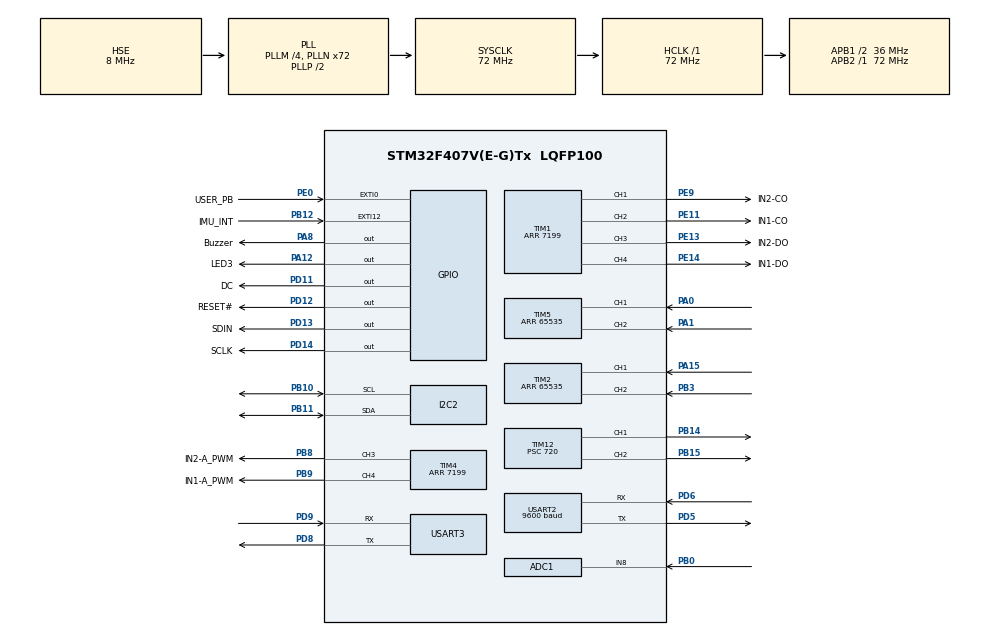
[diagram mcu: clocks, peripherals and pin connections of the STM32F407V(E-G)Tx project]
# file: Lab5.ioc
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ADC1.Channel-0\#ChannelRegularConversion=ADC_CHANNEL_8
ADC1.NbrOfConversionFlag=1
ADC1.Rank-0\#ChannelRegularConversion=1
ADC1.SamplingTime-0\#ChannelRegularConversion=ADC_SAMPLETIME_3CYCLES
ADC1.master=1
Mcu.Family=STM32F4
Mcu.Name=STM32F407V(E-G)Tx
Mcu.Package=LQFP100
NVIC.EXTI0_IRQn=true\:0\:0\:false\:false\:true\:true\:true\:true
NVIC.PriorityGroup=NVIC_PRIORITYGROUP_4
NVIC.RCC_IRQn=true\:0\:0\:false\:false\:true\:true\:false\:true
NVIC.TIM2_IRQn=true\:0\:0\:false\:false\:true\:true\:true\:true
NVIC.USART2_IRQn=true\:0\:0\:false\:false\:true\:true\:true\:true
PA0-WKUP.Signal=S_TIM5_CH1
PA1.Signal=S_TIM5_CH2
PA12.GPIO_Label=LED3
PA12.Signal=GPIO_Output
PA13.Mode=Serial_Wire
PA13.Signal=SYS_JTMS-SWDIO
PA14.Mode=Serial_Wire
PA14.Signal=SYS_JTCK-SWCLK
PA15.Signal=S_TIM2_CH1_ETR
PA8.GPIO_Label=Buzzer
PA8.Signal=GPIO_Output
PB0.Signal=ADCx_IN8
PB10.Mode=I2C
PB10.Signal=I2C2_SCL
PB11.Mode=I2C
PB11.Signal=I2C2_SDA
PB12.GPIO_Label=IMU_INT
PB12.Signal=GPXTI12
PB14.Signal=S_TIM12_CH1
PB15.Signal=S_TIM12_CH2
PB3.Signal=S_TIM2_CH2
PB8.GPIO_Label=IN2-A_PWM
PB8.Signal=S_TIM4_CH3
PB9.GPIO_Label=IN1-A_PWM
PB9.Signal=S_TIM4_CH4
PD11.GPIO_Label=DC
PD11.Signal=GPIO_Output
PD12.GPIO_Label=RESET\#
PD12.Signal=GPIO_Output
PD13.GPIO_Label=SDIN
PD13.Signal=GPIO_Output
PD14.GPIO_Label=SCLK
PD14.Signal=GPIO_Output
PD5.Mode=Asynchronous
PD5.Signal=USART2_TX
PD6.GPIO_PuPd=GPIO_PULLUP
PD6.Mode=Asynchronous
PD6.Signal=USART2_RX
PD8.Mode=Asynchronous
PD8.Signal=USART3_TX
PD9.Mode=Asynchronous
PD9.Signal=USART3_RX
PE0.GPIO_Label=USER_PB
PE0.Signal=GPXTI0
PE11.GPIO_Label=IN1-CO
PE11.Signal=S_TIM1_CH2
PE13.GPIO_Label=IN2-DO
PE13.Signal=S_TIM1_CH3
PE14.GPIO_Label=IN1-DO
PE14.Signal=S_TIM1_CH4
PE9.GPIO_Label=IN2-CO
PE9.Signal=S_TIM1_CH1
PH0-OSC_IN.Mode=HSE-External-Oscillator
PH0-OSC_IN.Signal=RCC_OSC_IN
PH1-OSC_OUT.Mode=HSE-External-Oscillator
PH1-OSC_OUT.Signal=RCC_OSC_OUT
ProjectManager.HeapSize=0x200
ProjectManager.StackSize=0x400
ProjectManager.TargetToolchain=STM32CubeIDE
RCC.48MHZClocksFreq_Value=36000000
RCC.AHBFreq_Value=72000000
RCC.APB1CLKDivider=RCC_HCLK_DIV2
RCC.APB1Freq_Value=36000000
RCC.APB1TimFreq_Value=72000000
RCC.APB2Freq_Value=72000000
RCC.APB2TimFreq_Value=72000000
RCC.CortexFreq_Value=72000000
RCC.HCLKFreq_Value=72000000
RCC.HSE_VALUE=8000000
RCC.HSI_VALUE=16000000
RCC.LSE_VALUE=32768
RCC.PLLM=4
RCC.PLLN=72
RCC.PLLSourceVirtual=RCC_PLLSOURCE_HSE
RCC.SYSCLKFreq_VALUE=72000000
RCC.SYSCLKSource=RCC_SYSCLKSOURCE_PLLCLK
RCC.VCOOutputFreq_Value=144000000
SH.ADCx_IN8.0=ADC1_IN8,IN8
SH.S_TIM12_CH1.0=TIM12_CH1,PWM Generation1 CH1
SH.S_TIM12_CH2.0=TIM12_CH2,PWM Generation2 CH2
SH.S_TIM1_CH1.0=TIM1_CH1,PWM Generation1 CH1
SH.S_TIM1_CH2.0=TIM1_CH2,PWM Generation2 CH2
SH.S_TIM1_CH3.0=TIM1_CH3,PWM Generation3 CH3
SH.S_TIM1_CH4.0=TIM1_CH4,PWM Generation4 CH4
SH.S_TIM2_CH1_ETR.0=TIM2_CH1,Encoder_Interface
SH.S_TIM2_CH2.0=TIM2_CH2,Encoder_Interface
SH.S_TIM4_CH3.0=TIM4_CH3,PWM Generation3 CH3
SH.S_TIM4_CH4.0=TIM4_CH4,PWM Generation4 CH4
SH.S_TIM5_CH1.0=TIM5_CH1,Encoder_Interface
SH.S_TIM5_CH2.0=TIM5_CH2,Encoder_Interface
TIM1.Channel-PWM\ Generation1\ CH1=TIM_CHANNEL_1
TIM1.Channel-PWM\ Generation2\ CH2=TIM_CHANNEL_2
TIM1.Channel-PWM\ Generation3\ CH3=TIM_CHANNEL_3
TIM1.Channel-PWM\ Generation4\ CH4=TIM_CHANNEL_4
TIM1.Period=7199
TIM12.Channel-PWM\ Generation1\ CH1=TIM_CHANNEL_1
TIM12.Channel-PWM\ Generation2\ CH2=TIM_CHANNEL_2
TIM12.Period=2000
TIM12.Prescaler=720
TIM2.AutoReloadPreload=TIM_AUTORELOAD_PRELOAD_DISABLE
TIM2.EncoderMode=TIM_ENCODERMODE_TI12
TIM2.IC1Filter=10
TIM2.IC1Polarity=TIM_ICPOLARITY_FALLING
TIM2.IC2Filter=10
TIM2.IC2Polarity=TIM_ICPOLARITY_FALLING
TIM2.Period=65535
TIM4.Channel-PWM\ Generation3\ CH3=TIM_CHANNEL_3
TIM4.Channel-PWM\ Generation4\ CH4=TIM_CHANNEL_4
TIM4.Period=7199
TIM5.Period=65535
TIM8.Period=7199
USART2.BaudRate=9600
USART2.VirtualMode=VM_ASYNC
USART3.VirtualMode=VM_ASYNC
VP_TIM12_VS_ClockSourceINT.Mode=Internal
VP_TIM1_VS_ClockSourceINT.Mode=Internal
VP_TIM4_VS_ClockSourceINT.Mode=Internal
VP_TIM8_VS_ClockSourceINT.Mode=Internal
board=custom

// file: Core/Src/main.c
/* USER CODE BEGIN Header */
/**
  ******************************************************************************
  * @file           : main.c  for ver D STM32 board - Lab 5
  * @brief          : Main program body
  ******************************************************************************
  * @attention
  *
  * Copyright (c) 2022 STMicroelectronics.
  * All rights reserved.
  *
  * This software is licensed under terms that can be found in the LICENSE file
  * in the root directory of this software component.
  * If no LICENSE file comes with this software, it is provided AS-IS.
  *
  ******************************************************************************
  */
/* USER CODE END Header */
#include "main.h"

/* USER CODE BEGIN Includes */
#include "oled.h"
#include "MPU6050.h"
#include <math.h>
/* USER CODE END Includes */

 ADC_HandleTypeDef hadc1;

I2C_HandleTypeDef hi2c2;

TIM_HandleTypeDef htim1;
TIM_HandleTypeDef htim2;
TIM_HandleTypeDef htim4;
TIM_HandleTypeDef htim5;
TIM_HandleTypeDef htim8;
TIM_HandleTypeDef htim12;  // for the two servor motors

UART_HandleTypeDef huart2;
UART_HandleTypeDef huart3;

void SystemClock_Config(void);
static void MX_GPIO_Init(void);
static void MX_TIM8_Init(void);
static void MX_TIM2_Init(void);
static void MX_USART2_UART_Init(void);
static void MX_TIM1_Init(void);
static void MX_USART3_UART_Init(void);
static void MX_I2C2_Init(void);
static void MX_TIM5_Init(void);
static void MX_TIM4_Init(void);
static void MX_ADC1_Init(void);
static void MX_TIM12_Init(void);

/* USER CODE BEGIN 0 */

uint8_t IMU_ADDR = 0x68<<1;  //MPU-6050 address
IMU_Data imu;	// see MPU6050.h declaration

float pitch_acc = 0, roll_acc = 0;   // pitch and roll angles measured by Acc
float pitch_acc_LPF=0, roll_acc_LPF =0, pitch_prev=0, roll_prev=0; // For Lowpass filtering of accelerometer
float pitch_gyro=0,  roll_gyro=0, yaw_gyro = 0;  // angles from Gyro data
float pitch_CF = 0,  roll_CF = 0; // angles compute using Complementary filter

// the following are for Kalman Filter
float Var_gyro = 4*4; // uncertainty of gyroscope measurement - not changing over time
float Var_acc = 3*3; // uncertainty of accelerometer measurement - not changing over time
float roll_var_g = 2*2; // initial uncertainty - will be updated
float pitch_var_g = 2*2; // initial uncertainty - will be updated
float KG_roll, KG_pitch; // Kalman Gain, will be calculated
float roll_KF = 0; // estimate roll by KF
float pitch_KF = 0;

char sbuf[10][20];  // buffers to store up to 10 data for serial port transmission, each of max len of 20 char

char temp[10][10]; // temporary buffer to store IMU data as string and display on OLED
                    // first 3 store Acc aX, aY, aZ
                    // next 3 store Gyro gX, gY, gZ
					// next 3 store Magntometer (NA for MPU-6050)
                    // next 1 store Temp, or use as scratch variable

uint32_t millisOld, millisNow;  // to store timer value for gyro angles computation
float dt; // time elapse in between sample

int32_t pitch_servo_target = 65;  // servo motor default PWM values
int32_t roll_servo_target = 150;

//***************************************************************************************

void OLED_disp_msg1()
{ // show starting message
  char *buf; // buffer to store value to be display on OLED/SerialPort
  OLED_Init();
  OLED_ShowString(10, 5, "SC2104/CE3002"); // show message on OLED display at line 5)
  buf = "Lab 5"; // another way to show message through buffer
  OLED_ShowString(10,30, buf); //another message at line 30
  buf = "IMU + PID"; // anther way to show message through buffer
  OLED_ShowString(10,50, buf); //another message at line 50
  OLED_Refresh_Gram();
  HAL_Delay(2000); // pause for 2 second to show message

  // send a message to serial port - for testing
  buf = "SC2104\n\r";
  HAL_UART_Transmit(&huart3, buf, 8, HAL_MAX_DELAY); // Send through Serial Port @115200
  HAL_UART_Transmit(&huart2, buf, 8, HAL_MAX_DELAY); // Send through BT Serial Port @9600
  }

void OLED_disp_msg2()
{ // showing messages while adjusting the platform
  OLED_Clear();
  OLED_ShowString(30, 20, "Testing"); // show message on OLED display at line 20)
  OLED_ShowString(10, 30, " Server motors"); // show message on OLED display at line 40)
  OLED_Refresh_Gram();
  Server_Motor12(); // testing servermotor 1 and 2

  // show starting message
  OLED_Clear();
  OLED_ShowString(0, 0,  "Adjust Platform"); // show message on OLED display at line 30)
  OLED_ShowString(0, 10, "    for"); // show message on OLED display at line 40)
  OLED_ShowString(0, 20, "level setting"); // show message on OLED display at line 40)
  //OLED_ShowString(0, 30, "  setting"); // show message on OLED display at line 40)
  OLED_Refresh_Gram();
  HAL_Delay(1000); // pause for 2 second to show message
  millisOld = HAL_GetTick(); // get first time value before starting - for Gyro dt compuattaion
  for (int j = 0; j < 200; j++){
	  get_angles();
	  // show Pitch_acc and Roll_acc on OLED
	  sprintf(temp[9], "P:%4.1f ", pitch_acc);
	  OLED_ShowString(0, 40, &temp[9]);  // show on OLED
	  sprintf(temp[9], "R:%4.1f", roll_acc); //
	  OLED_ShowString(70, 40, &temp[9]); // shown on OLED
	  OLED_Refresh_Gram();
	  HAL_Delay(10); // pause for 0.01 second
      }

  OLED_Clear();
  OLED_ShowString(0, 10, "Targets setting"); // show message on OLED display at line 40)
  OLED_ShowString(0, 20, "  procedure"); // show message on OLED display at line 40)
  OLED_ShowString(0, 35, "   starts"); // show message on OLED display at line 40)
  OLED_ShowString(0, 50, "..Keep still.."); // show message on OLED display at line 40)
  OLED_Refresh_Gram();

  set_targets(); //set the target  angles for the balance platform
  HAL_Delay(2000); // pause for 2 second to show message
  OLED_Clear();
}

float pitch_target, roll_target;  // target angles values for platform

void OLED_disp_msg3()
{  	// show Pitch_acc and Roll_acc on OLED
  	sprintf(temp[9], "P:%4.1f ", pitch_acc);
  	OLED_ShowString(0, 40, &temp[9]);  // show on OLED
	sprintf(temp[9], "R:%4.1f", roll_acc); //
  	OLED_ShowString(70, 40, &temp[9]); // shown on OLED

  	sprintf(temp[9], "T:%4.1f ", pitch_target);
  	OLED_ShowString(0, 50, &temp[9]);  // show on OLED
	sprintf(temp[9], "T:%4.1f", roll_target); //
  	OLED_ShowString(70, 50, &temp[9]); // shown on OLED

 	sprintf(temp[9], "dt: %5.3f", dt);  // cycle time
  	OLED_ShowString(0, 0, &temp[9]); // shown on OLED

  	OLED_Refresh_Gram(); // refresh OLED display
}

//***************************************************************************************

void Serial_tx(){
  	// send Platform  roll and pitch angles as roll and pitch targets to USB serial port
  	sprintf(sbuf[0], "%7.2f,", roll_KF); //
   	sprintf(sbuf[1], "%7.2f,", roll_target);
  	sprintf(sbuf[2], "%7.2f,", pitch_KF); //
  	sprintf(sbuf[3], "%7.2f\n\r", pitch_target); //yaw_gyro
  	for (int i=0; i<4; i++)// send the values to serial port: channel 15 to 17 on SerialPort
  	 	HAL_UART_Transmit(&huart3, sbuf[i], 8, HAL_MAX_DELAY); // send through serial port at 115200
    }

//***************************************************************************************

void Server_Motor12(){
	 // Front wheel server motor is controlled though PB14 and PB15
	 //   configured as Timer12 Channel 1 and Channel 2 PWM
	 // Pulse period = 20ms; : 1ms = 0 degree, 1.5 ms = 90 deg, 2 ms = 180 degree
	 // forward = 1.5 msec ?
	 // Timer3 frequency @ APB2 = 72MHz
	 // Required PWM frequency = 50Hz (= 20msec)
	 // Scaling required = 72000000/50= 1440K
	 //   set Prescaler to 720 and ARR = 2000 (see ioc setup)
	 // 1ms = 2000 * 1/20 = 100
	 // 2 msec = 200
	 //1.5 msec = 150

	HAL_TIM_PWM_Start(&htim12, TIM_CHANNEL_1); // start timer 12 for servor motor
	HAL_TIM_PWM_Start(&htim12, TIM_CHANNEL_2); // start timer 12 for servor motor

  // initial position
	htim12.Instance->CCR1 = roll_servo_target;  // duty cycle is 1.5 ms
	htim12.Instance->CCR2 = pitch_servo_target;  // duty cycle is 1.5 ms
	HAL_Delay(2000);

}

//***************************************************************************************

int start=0;              // use to start stop the motor
void HAL_GPIO_EXTI_Callback( uint16_t GPIO_Pin ) {// user push button interrupt
    // see EXTI0_IRQHandler() in stm32f4xx_it.c for interrupt
	if ( GPIO_Pin == USER_PB_Pin) {
		// toggle LED
		HAL_GPIO_TogglePin(GPIOA, GPIO_PIN_12); // LED - A12
		if (start == 0)
			start = 1;
		else
			start = 0;
 	    }
}

//***************************************************************************************

//ring array to store data for moving average
#define window_size 10
float pitch_array[window_size] = {0}; // initialize all value to 0
float roll_array[window_size] = {0};

float mov_avr_pitch(float data)
{   static int index = 0;
    float sum;
    char *buff;

    pitch_array[index] = data;
    index++;
    if (index == window_size)
		index = 0;

	sum = 0;

	for (int i = 0; i<window_size; i++)
		sum = sum + pitch_array[i];

	return (sum/window_size);
}

//----------------------------------------------------------------------------------------

float mov_avr_roll(const float data)
{   static int index = 0;

    roll_array[index] = data;
    index++;
	if (index == window_size)
		index = 0;

	float sum = 0;
	for (int i = 0; i<window_size; i++)
		sum = sum + roll_array[i];

	return (sum/window_size);
}

//***************************************************************************************

#define data_size 500 // take most recent 500 values

void set_targets()  // use the average of 500 samples to set the platform target angles
{ float pitch_arr[data_size];
  float roll_arr[data_size];
  float pitch_sum = 0, roll_sum = 0;

  millisOld = HAL_GetTick();
  for (int i = 0; i < data_size; i++ ){
      get_angles();
      pitch_arr[i] = pitch_KF; // store entries into array
      roll_arr[i] = roll_KF;  // store entries i to array
      }
  // calculate average
  for (int i = 0; i < data_size; i++ ){
      pitch_sum = pitch_sum + pitch_arr[i];
      roll_sum = roll_sum + roll_arr[i];
      }
  pitch_target = pitch_sum/data_size;
  roll_target = roll_sum/data_size;
}

//***************************************************************************************

void get_angles()  //Calaculate pitch and toll angles using Kalman Filter
{
	  IMU_AccelRead(&imu); // read Accelerometer value
	  IMU_GyroRead(&imu); //  read Gyroscope value

	  // get the loop elapse time = sampling interval
	  millisNow = HAL_GetTick(); // store the current time for next round
	  dt = (millisNow - millisOld)*0.001; // time elapsed in millisecond
	  millisOld = millisNow; // store the current time for next round

	  // Calculate the angle based on Gyroscope x dt of 50msec
	  // pitch_gyro = pitch_gyro + imu.gyro[0] * dt; // in millisecond
	  // roll_gyro = roll_gyro + imu.gyro[1] * dt;
	  // yaw_gyro = yaw_gyro + imu.gyro[2] * dt;     // yaw - not needed

	   // convert the acc readings to pitch and roll angles
	   roll_acc=atan2(imu.acc[0],imu.acc[2]); //thetha = pitch = arcTan(aX/aZ)
	   roll_acc=-roll_acc*57.3; //change from radian to degree, change sign to match gyro's pitch
	   pitch_acc=atan2(imu.acc[1],imu.acc[2]); //Phi = roll = arcTan(aX/aZ)
	   pitch_acc=pitch_acc*57.3; //change from radian to degree//

	   // Complementary filter pitch AND ROLL
	   pitch_CF = 0.05*pitch_acc + 0.95*(pitch_CF + imu.gyro[0]*dt);	 // dt is msec
	   roll_CF = 0.05*roll_acc + 0.95*(roll_CF + imu.gyro[1]*dt);

	   //Calculate Kalman filter Pitch and Roll
	   // roll_gyro and pitch_gyro, roll_acc and pitch_acc alreadys calculated above
	   // calculate the roll and pitch estimated angles by gyro measurement
	   pitch_KF = pitch_KF + imu.gyro[0]*dt; // add the latest change in angles to previous values
	   roll_KF = roll_KF + imu.gyro[1]*dt;
	   // calculate the variance of the estimates by gyro
	   pitch_var_g = pitch_var_g + dt*dt*Var_gyro;
	   roll_var_g = roll_var_g + dt*dt*Var_gyro;
	   // calculate the Kalman Gain
	   KG_roll = roll_var_g/(roll_var_g + Var_acc);
	   KG_pitch = pitch_var_g/(pitch_var_g + Var_acc);
	   // update the gyro estimates using KG
	   roll_KF = roll_KF + KG_roll*(roll_acc-roll_KF);
	   pitch_KF = pitch_KF + KG_pitch*(pitch_acc-pitch_KF);
	   // update the gyro estimates variance using KG
	   roll_var_g = (1-KG_roll)*roll_var_g;
	   pitch_var_g = (1-KG_pitch)*pitch_var_g;
  }

//***************************************************************************************
// Control loop for Roll angle
float roll_angle;            // current Roll angle of platform
float roll_target;           // target Roll angle
float roll_error=0;          // error between target and actual
float roll_error_area = 0;   // area under error - to calculate I for PI implementation
float roll_error_old = 0;    // use these 3 variables to calculate D for PD/PID control
float roll_error_change = 0;
float roll_error_rate = 0;

void roll_PID(float angle, const float kp, const float ki, const float kd)
{   int roll_ServoVal;        // PWM servo value for roll servo motor
    const int ServoMax = 220; // maximum servor value
    const int ServoMin = 50;  // maximum servor value

    roll_error = roll_target - angle;

    roll_error_area = roll_error_area + roll_error*dt; // area under error for Ki

    roll_error_change = roll_error - roll_error_old; // change in error
	roll_error_old = roll_error; //store the error for next round
    roll_error_rate = (roll_error_change)/dt; // for Kd - dt in millsecond

//	pwmVal_raw = (int)(error*Kp); // for debugging

	roll_ServoVal = (int)(roll_servo_target- roll_error*kp - roll_error_area*ki - roll_error_rate*kd); // PI control loop

	if (roll_ServoVal > ServoMax)  // Clamp the PWM value to maximum value
	   roll_ServoVal = ServoMax;
	if (roll_ServoVal < ServoMin)  // Clamp the PWM value to minimum value
	   roll_ServoVal = ServoMin;

//	roll_ServoVal = (int)(roll_servo_target + );  // + D which is subtration

//	if (roll_ServoVal < ServoMin)  // Clamp the PWM to its minimum negative value
//		roll_ServoVal = ServoMin;

	htim12.Instance->CCR1 = roll_ServoVal;      // send PWM duty cycle to servo motor

	sprintf(temp[9], "rS:%3d", roll_ServoVal);  // show Servo PWM value on OLED display
	OLED_ShowString(70, 20, &temp[9]);
	OLED_Refresh_Gram();
}

//---------------------------------------------------------------------------------
// Control loop for Pitch angle
float pitch_angle;            // current pitch angle of platform
float pitch_target;           // target angle
float pitch_error = 0;          // error between target and actual
float pitch_error_area = 0;   // area under error - to calculate I for PI implementation
float pitch_error_old = 0, pitch_error_change = 0, pitch_error_rate = 0; // to calculate D for PID control

void pitch_PID(float angle, const float kp, const float ki, const float kd)
{   int pitch_ServoVal;       // PWM servo value for Pitch servo motor
    const int ServoMax = 220; // maximum servor value
    const int ServoMin = 50;  // maximum servor value

    pitch_error = pitch_target - angle;

    pitch_error_area = pitch_error_area + pitch_error*dt; // area under error for Ki

    pitch_error_change = pitch_error - pitch_error_old; // change in error
	pitch_error_old = pitch_error; //store the error for next round
    pitch_error_rate = (pitch_error_change)/dt; // for Kd - dt in millsecond

//	pwmVal_raw = (int)(error*Kp); // for debugging

	pitch_ServoVal = (int)(pitch_servo_target- pitch_error*kp - pitch_error_area*ki - pitch_error_rate*kd); // PI control loop

	if (pitch_ServoVal > ServoMax)  // Clamp the PWM value to maximum value
	   pitch_ServoVal = ServoMax;
	if (pitch_ServoVal < ServoMin)  // Clamp the PWM value to minimum value
	   pitch_ServoVal = ServoMin;

	htim12.Instance->CCR2 = pitch_ServoVal;  // send duty cycle to Pitch servo motor

	sprintf(temp[9], "pS:%3d", pitch_ServoVal);  // show Servo PWM value on OLED display
	OLED_ShowString(0, 20, &temp[9]);
	OLED_Refresh_Gram(); // refresh OLED display
}

//***************************************************************************************

/* USER CODE END 0 */

int main(void)
{
  /* USER CODE BEGIN 1 */
     float Kp = 0;  // PID parameters
     float Kd = 0;
     float Ki = 0;
  /* USER CODE END 1 */

  /* MCU Configuration--------------------------------------------------------*/

  /* Reset of all peripherals, Initializes the Flash interface and the Systick. */
  HAL_Init();

  /* Configure the system clock */
  SystemClock_Config();

  /* Initialize all configured peripherals */
  MX_GPIO_Init();
  MX_TIM8_Init();
  MX_TIM2_Init();
  MX_USART2_UART_Init();
  MX_TIM1_Init();
  MX_USART3_UART_Init();
  MX_I2C2_Init();
  MX_TIM5_Init();
  MX_TIM4_Init();
  MX_ADC1_Init();
  MX_TIM12_Init();
  /* USER CODE BEGIN 2 */
     OLED_disp_msg1();  // display startup message on OLED

     // Initialize the IMU
     char *msg;
     int i = IMU_Initialise(&imu, &hi2c2, &huart3);
     if (i == 0) // 0 error (i.e. no error)
  	    msg = "IMU Init OK   \r\n";
     else
        msg = "IMU Init Error\r\n";
     HAL_UART_Transmit(&huart3, msg, 16, HAL_MAX_DELAY);  // send message to serial port

     OLED_disp_msg2();  // display message2 on OLED to setup platform

     roll_servo_target = 150;   // nominal PWM value for roll servo motor
     pitch_servo_target = 65;   // nominal PWM value for pitch servo motor

     millisOld = HAL_GetTick(); // get first time value before starting - for Gyro and PID dt computation
     start = 1;  // for user push button detection
  /* USER CODE END 2 */

  /* Infinite loop */
  /* USER CODE BEGIN WHILE */
     //------------------------------------------------------------------------------------
     while (start == 1){ //do until User button is pressed
	   get_angles();     //get roll and pitch angles from IMU

	   //filtering the angles using FIR moving average filter
	   roll_angle = mov_avr_roll(roll_KF);
	   pitch_angle = mov_avr_pitch(pitch_KF);

	   // Execute control loop for Roll angle with its PID parameters
	   Kp = 1;     // P
	   Ki = 4;     // I
	   Kd = 0.005;     // D
	   Kp=0;
	   Ki =0;
	   Kd = 0;
	   roll_PID(roll_angle, Kp, Ki, Kd);

	   // Execute control loop for Pitch angle with its PID parameters
	   Kp = 1.8;     // P
	   Ki = 3;     // I
	   Kd = 0.05;     // D
	   Ki =0;
	   	   Kd = 0;
	   pitch_PID(pitch_angle, Kp, Ki, Kd);

       Serial_tx(); //send roll & pitch angles, roll & pitch targets to serial port

  	   OLED_disp_msg3(); //display information on OLED

  	   HAL_GPIO_TogglePin(GPIOA, GPIO_PIN_12); // toggle LED for heart beat indicator
     } // while(start == 1)

  /* USER CODE END WHILE */

  /* USER CODE BEGIN 3 */
     //while loop exit - user push button detected
     OLED_Clear();
     OLED_ShowString(0, 10, "Program Stop"); // show message on OLED display at line 10)
     OLED_ShowString(0, 30, "Press Reset");  // show message on OLED display at line 30)
     OLED_ShowString(0, 40, "button to");    // show message on OLED display at line 40)
     OLED_ShowString(0, 50, "restart");      // show message on OLED display at line 50)
     OLED_Refresh_Gram();
     while(1); // stop - do nothing
  /* USER CODE END 3 */
} //main

//**************************************************************************************************

void SystemClock_Config(void)
{
  RCC_OscInitTypeDef RCC_OscInitStruct = {0};
  RCC_ClkInitTypeDef RCC_ClkInitStruct = {0};

  /** Configure the main internal regulator output voltage
  */
  __HAL_RCC_PWR_CLK_ENABLE();
  __HAL_PWR_VOLTAGESCALING_CONFIG(PWR_REGULATOR_VOLTAGE_SCALE1);

  /** Initializes the RCC Oscillators according to the specified parameters
  * in the RCC_OscInitTypeDef structure.
  */
  RCC_OscInitStruct.OscillatorType = RCC_OSCILLATORTYPE_HSE;
  RCC_OscInitStruct.HSEState = RCC_HSE_ON;
  RCC_OscInitStruct.PLL.PLLState = RCC_PLL_ON;
  RCC_OscInitStruct.PLL.PLLSource = RCC_PLLSOURCE_HSE;
  RCC_OscInitStruct.PLL.PLLM = 4;
  RCC_OscInitStruct.PLL.PLLN = 72;
  RCC_OscInitStruct.PLL.PLLP = RCC_PLLP_DIV2;
  RCC_OscInitStruct.PLL.PLLQ = 4;
  if (HAL_RCC_OscConfig(&RCC_OscInitStruct) != HAL_OK)
  {
    Error_Handler();
  }

  /** Initializes the CPU, AHB and APB buses clocks
  */
  RCC_ClkInitStruct.ClockType = RCC_CLOCKTYPE_HCLK|RCC_CLOCKTYPE_SYSCLK
                              |RCC_CLOCKTYPE_PCLK1|RCC_CLOCKTYPE_PCLK2;
  RCC_ClkInitStruct.SYSCLKSource = RCC_SYSCLKSOURCE_PLLCLK;
  RCC_ClkInitStruct.AHBCLKDivider = RCC_SYSCLK_DIV1;
  RCC_ClkInitStruct.APB1CLKDivider = RCC_HCLK_DIV2;
  RCC_ClkInitStruct.APB2CLKDivider = RCC_HCLK_DIV1;

  if (HAL_RCC_ClockConfig(&RCC_ClkInitStruct, FLASH_LATENCY_2) != HAL_OK)
  {
    Error_Handler();
  }
}

static void MX_ADC1_Init(void)
{

  ADC_ChannelConfTypeDef sConfig = {0};

  /** Configure the global features of the ADC (Clock, Resolution, Data Alignment and number of conversion)
  */
  hadc1.Instance = ADC1;
  hadc1.Init.ClockPrescaler = ADC_CLOCK_SYNC_PCLK_DIV2;
  hadc1.Init.Resolution = ADC_RESOLUTION_12B;
  hadc1.Init.ScanConvMode = DISABLE;
  hadc1.Init.ContinuousConvMode = DISABLE;
  hadc1.Init.DiscontinuousConvMode = DISABLE;
  hadc1.Init.ExternalTrigConvEdge = ADC_EXTERNALTRIGCONVEDGE_NONE;
  hadc1.Init.ExternalTrigConv = ADC_SOFTWARE_START;
  hadc1.Init.DataAlign = ADC_DATAALIGN_RIGHT;
  hadc1.Init.NbrOfConversion = 1;
  hadc1.Init.DMAContinuousRequests = DISABLE;
  hadc1.Init.EOCSelection = ADC_EOC_SINGLE_CONV;
  if (HAL_ADC_Init(&hadc1) != HAL_OK)
  {
    Error_Handler();
  }

  /** Configure for the selected ADC regular channel its corresponding rank in the sequencer and its sample time.
  */
  sConfig.Channel = ADC_CHANNEL_8;
  sConfig.Rank = 1;
  sConfig.SamplingTime = ADC_SAMPLETIME_3CYCLES;
  if (HAL_ADC_ConfigChannel(&hadc1, &sConfig) != HAL_OK)
  {
    Error_Handler();
  }

}

static void MX_I2C2_Init(void)
{

  hi2c2.Instance = I2C2;
  hi2c2.Init.ClockSpeed = 100000;
  hi2c2.Init.DutyCycle = I2C_DUTYCYCLE_2;
  hi2c2.Init.OwnAddress1 = 0;
  hi2c2.Init.AddressingMode = I2C_ADDRESSINGMODE_7BIT;
  hi2c2.Init.DualAddressMode = I2C_DUALADDRESS_DISABLE;
  hi2c2.Init.OwnAddress2 = 0;
  hi2c2.Init.GeneralCallMode = I2C_GENERALCALL_DISABLE;
  hi2c2.Init.NoStretchMode = I2C_NOSTRETCH_DISABLE;
  if (HAL_I2C_Init(&hi2c2) != HAL_OK)
  {
    Error_Handler();
  }

}

static void MX_TIM1_Init(void)
{

  TIM_ClockConfigTypeDef sClockSourceConfig = {0};
  TIM_MasterConfigTypeDef sMasterConfig = {0};
  TIM_OC_InitTypeDef sConfigOC = {0};
  TIM_BreakDeadTimeConfigTypeDef sBreakDeadTimeConfig = {0};

  htim1.Instance = TIM1;
  htim1.Init.Prescaler = 0;
  htim1.Init.CounterMode = TIM_COUNTERMODE_UP;
  htim1.Init.Period = 7199;
  htim1.Init.ClockDivision = TIM_CLOCKDIVISION_DIV1;
  htim1.Init.RepetitionCounter = 0;
  htim1.Init.AutoReloadPreload = TIM_AUTORELOAD_PRELOAD_DISABLE;
  if (HAL_TIM_Base_Init(&htim1) != HAL_OK)
  {
    Error_Handler();
  }
  sClockSourceConfig.ClockSource = TIM_CLOCKSOURCE_INTERNAL;
  if (HAL_TIM_ConfigClockSource(&htim1, &sClockSourceConfig) != HAL_OK)
  {
    Error_Handler();
  }
  if (HAL_TIM_PWM_Init(&htim1) != HAL_OK)
  {
    Error_Handler();
  }
  sMasterConfig.MasterOutputTrigger = TIM_TRGO_RESET;
  sMasterConfig.MasterSlaveMode = TIM_MASTERSLAVEMODE_DISABLE;
  if (HAL_TIMEx_MasterConfigSynchronization(&htim1, &sMasterConfig) != HAL_OK)
  {
    Error_Handler();
  }
  sConfigOC.OCMode = TIM_OCMODE_PWM1;
  sConfigOC.Pulse = 0;
  sConfigOC.OCPolarity = TIM_OCPOLARITY_HIGH;
  sConfigOC.OCNPolarity = TIM_OCNPOLARITY_HIGH;
  sConfigOC.OCFastMode = TIM_OCFAST_DISABLE;
  sConfigOC.OCIdleState = TIM_OCIDLESTATE_RESET;
  sConfigOC.OCNIdleState = TIM_OCNIDLESTATE_RESET;
  if (HAL_TIM_PWM_ConfigChannel(&htim1, &sConfigOC, TIM_CHANNEL_1) != HAL_OK)
  {
    Error_Handler();
  }
  if (HAL_TIM_PWM_ConfigChannel(&htim1, &sConfigOC, TIM_CHANNEL_2) != HAL_OK)
  {
    Error_Handler();
  }
  if (HAL_TIM_PWM_ConfigChannel(&htim1, &sConfigOC, TIM_CHANNEL_3) != HAL_OK)
  {
    Error_Handler();
  }
  if (HAL_TIM_PWM_ConfigChannel(&htim1, &sConfigOC, TIM_CHANNEL_4) != HAL_OK)
  {
    Error_Handler();
  }
  sBreakDeadTimeConfig.OffStateRunMode = TIM_OSSR_DISABLE;
  sBreakDeadTimeConfig.OffStateIDLEMode = TIM_OSSI_DISABLE;
  sBreakDeadTimeConfig.LockLevel = TIM_LOCKLEVEL_OFF;
  sBreakDeadTimeConfig.DeadTime = 0;
  sBreakDeadTimeConfig.BreakState = TIM_BREAK_DISABLE;
  sBreakDeadTimeConfig.BreakPolarity = TIM_BREAKPOLARITY_HIGH;
  sBreakDeadTimeConfig.AutomaticOutput = TIM_AUTOMATICOUTPUT_DISABLE;
  if (HAL_TIMEx_ConfigBreakDeadTime(&htim1, &sBreakDeadTimeConfig) != HAL_OK)
  {
    Error_Handler();
  }
  HAL_TIM_MspPostInit(&htim1);

}

static void MX_TIM2_Init(void)
{

  TIM_Encoder_InitTypeDef sConfig = {0};
  TIM_MasterConfigTypeDef sMasterConfig = {0};

  htim2.Instance = TIM2;
  htim2.Init.Prescaler = 0;
  htim2.Init.CounterMode = TIM_COUNTERMODE_UP;
  htim2.Init.Period = 65535;
  htim2.Init.ClockDivision = TIM_CLOCKDIVISION_DIV1;
  htim2.Init.AutoReloadPreload = TIM_AUTORELOAD_PRELOAD_DISABLE;
  sConfig.EncoderMode = TIM_ENCODERMODE_TI12;
  sConfig.IC1Polarity = TIM_ICPOLARITY_FALLING;
  sConfig.IC1Selection = TIM_ICSELECTION_DIRECTTI;
  sConfig.IC1Prescaler = TIM_ICPSC_DIV1;
  sConfig.IC1Filter = 10;
  sConfig.IC2Polarity = TIM_ICPOLARITY_FALLING;
  sConfig.IC2Selection = TIM_ICSELECTION_DIRECTTI;
  sConfig.IC2Prescaler = TIM_ICPSC_DIV1;
  sConfig.IC2Filter = 10;
  if (HAL_TIM_Encoder_Init(&htim2, &sConfig) != HAL_OK)
  {
    Error_Handler();
  }
  sMasterConfig.MasterOutputTrigger = TIM_TRGO_RESET;
  sMasterConfig.MasterSlaveMode = TIM_MASTERSLAVEMODE_DISABLE;
  if (HAL_TIMEx_MasterConfigSynchronization(&htim2, &sMasterConfig) != HAL_OK)
  {
    Error_Handler();
  }

}

static void MX_TIM4_Init(void)
{

  TIM_ClockConfigTypeDef sClockSourceConfig = {0};
  TIM_MasterConfigTypeDef sMasterConfig = {0};
  TIM_OC_InitTypeDef sConfigOC = {0};

  htim4.Instance = TIM4;
  htim4.Init.Prescaler = 0;
  htim4.Init.CounterMode = TIM_COUNTERMODE_UP;
  htim4.Init.Period = 7199;
  htim4.Init.ClockDivision = TIM_CLOCKDIVISION_DIV1;
  htim4.Init.AutoReloadPreload = TIM_AUTORELOAD_PRELOAD_DISABLE;
  if (HAL_TIM_Base_Init(&htim4) != HAL_OK)
  {
    Error_Handler();
  }
  sClockSourceConfig.ClockSource = TIM_CLOCKSOURCE_INTERNAL;
  if (HAL_TIM_ConfigClockSource(&htim4, &sClockSourceConfig) != HAL_OK)
  {
    Error_Handler();
  }
  if (HAL_TIM_PWM_Init(&htim4) != HAL_OK)
  {
    Error_Handler();
  }
  sMasterConfig.MasterOutputTrigger = TIM_TRGO_RESET;
  sMasterConfig.MasterSlaveMode = TIM_MASTERSLAVEMODE_DISABLE;
  if (HAL_TIMEx_MasterConfigSynchronization(&htim4, &sMasterConfig) != HAL_OK)
  {
    Error_Handler();
  }
  sConfigOC.OCMode = TIM_OCMODE_PWM1;
  sConfigOC.Pulse = 0;
  sConfigOC.OCPolarity = TIM_OCPOLARITY_HIGH;
  sConfigOC.OCFastMode = TIM_OCFAST_DISABLE;
  if (HAL_TIM_PWM_ConfigChannel(&htim4, &sConfigOC, TIM_CHANNEL_3) != HAL_OK)
  {
    Error_Handler();
  }
  if (HAL_TIM_PWM_ConfigChannel(&htim4, &sConfigOC, TIM_CHANNEL_4) != HAL_OK)
  {
    Error_Handler();
  }
  HAL_TIM_MspPostInit(&htim4);

}

static void MX_TIM5_Init(void)
{

  TIM_Encoder_InitTypeDef sConfig = {0};
  TIM_MasterConfigTypeDef sMasterConfig = {0};

  htim5.Instance = TIM5;
  htim5.Init.Prescaler = 0;
  htim5.Init.CounterMode = TIM_COUNTERMODE_UP;
  htim5.Init.Period = 65535;
  htim5.Init.ClockDivision = TIM_CLOCKDIVISION_DIV1;
  htim5.Init.AutoReloadPreload = TIM_AUTORELOAD_PRELOAD_DISABLE;
  sConfig.EncoderMode = TIM_ENCODERMODE_TI1;
  sConfig.IC1Polarity = TIM_ICPOLARITY_RISING;
  sConfig.IC1Selection = TIM_ICSELECTION_DIRECTTI;
  sConfig.IC1Prescaler = TIM_ICPSC_DIV1;
  sConfig.IC1Filter = 0;
  sConfig.IC2Polarity = TIM_ICPOLARITY_RISING;
  sConfig.IC2Selection = TIM_ICSELECTION_DIRECTTI;
  sConfig.IC2Prescaler = TIM_ICPSC_DIV1;
  sConfig.IC2Filter = 0;
  if (HAL_TIM_Encoder_Init(&htim5, &sConfig) != HAL_OK)
  {
    Error_Handler();
  }
  sMasterConfig.MasterOutputTrigger = TIM_TRGO_RESET;
  sMasterConfig.MasterSlaveMode = TIM_MASTERSLAVEMODE_DISABLE;
  if (HAL_TIMEx_MasterConfigSynchronization(&htim5, &sMasterConfig) != HAL_OK)
  {
    Error_Handler();
  }

}

static void MX_TIM8_Init(void)
{

  TIM_ClockConfigTypeDef sClockSourceConfig = {0};
  TIM_MasterConfigTypeDef sMasterConfig = {0};

  htim8.Instance = TIM8;
  htim8.Init.Prescaler = 0;
  htim8.Init.CounterMode = TIM_COUNTERMODE_UP;
  htim8.Init.Period = 7199;
  htim8.Init.ClockDivision = TIM_CLOCKDIVISION_DIV1;
  htim8.Init.RepetitionCounter = 0;
  htim8.Init.AutoReloadPreload = TIM_AUTORELOAD_PRELOAD_DISABLE;
  if (HAL_TIM_Base_Init(&htim8) != HAL_OK)
  {
    Error_Handler();
  }
  sClockSourceConfig.ClockSource = TIM_CLOCKSOURCE_INTERNAL;
  if (HAL_TIM_ConfigClockSource(&htim8, &sClockSourceConfig) != HAL_OK)
  {
    Error_Handler();
  }
  sMasterConfig.MasterOutputTrigger = TIM_TRGO_RESET;
  sMasterConfig.MasterSlaveMode = TIM_MASTERSLAVEMODE_DISABLE;
  if (HAL_TIMEx_MasterConfigSynchronization(&htim8, &sMasterConfig) != HAL_OK)
  {
    Error_Handler();
  }

}

static void MX_TIM12_Init(void)
{

  TIM_ClockConfigTypeDef sClockSourceConfig = {0};
  TIM_OC_InitTypeDef sConfigOC = {0};

  htim12.Instance = TIM12;
  htim12.Init.Prescaler = 720;
  htim12.Init.CounterMode = TIM_COUNTERMODE_UP;
  htim12.Init.Period = 2000;
  htim12.Init.ClockDivision = TIM_CLOCKDIVISION_DIV1;
  htim12.Init.AutoReloadPreload = TIM_AUTORELOAD_PRELOAD_DISABLE;
  if (HAL_TIM_Base_Init(&htim12) != HAL_OK)
  {
    Error_Handler();
  }
  sClockSourceConfig.ClockSource = TIM_CLOCKSOURCE_INTERNAL;
  if (HAL_TIM_ConfigClockSource(&htim12, &sClockSourceConfig) != HAL_OK)
  {
    Error_Handler();
  }
  if (HAL_TIM_PWM_Init(&htim12) != HAL_OK)
  {
    Error_Handler();
  }
  sConfigOC.OCMode = TIM_OCMODE_PWM1;
  sConfigOC.Pulse = 0;
  sConfigOC.OCPolarity = TIM_OCPOLARITY_HIGH;
  sConfigOC.OCFastMode = TIM_OCFAST_DISABLE;
  if (HAL_TIM_PWM_ConfigChannel(&htim12, &sConfigOC, TIM_CHANNEL_1) != HAL_OK)
  {
    Error_Handler();
  }
  if (HAL_TIM_PWM_ConfigChannel(&htim12, &sConfigOC, TIM_CHANNEL_2) != HAL_OK)
  {
    Error_Handler();
  }
  HAL_TIM_MspPostInit(&htim12);

}

static void MX_USART2_UART_Init(void)
{

  huart2.Instance = USART2;
  huart2.Init.BaudRate = 9600;
  huart2.Init.WordLength = UART_WORDLENGTH_8B;
  huart2.Init.StopBits = UART_STOPBITS_1;
  huart2.Init.Parity = UART_PARITY_NONE;
  huart2.Init.Mode = UART_MODE_TX_RX;
  huart2.Init.HwFlowCtl = UART_HWCONTROL_NONE;
  huart2.Init.OverSampling = UART_OVERSAMPLING_16;
  if (HAL_UART_Init(&huart2) != HAL_OK)
  {
    Error_Handler();
  }

}

static void MX_USART3_UART_Init(void)
{

  huart3.Instance = USART3;
  huart3.Init.BaudRate = 115200;
  huart3.Init.WordLength = UART_WORDLENGTH_8B;
  huart3.Init.StopBits = UART_STOPBITS_1;
  huart3.Init.Parity = UART_PARITY_NONE;
  huart3.Init.Mode = UART_MODE_TX_RX;
  huart3.Init.HwFlowCtl = UART_HWCONTROL_NONE;
  huart3.Init.OverSampling = UART_OVERSAMPLING_16;
  if (HAL_UART_Init(&huart3) != HAL_OK)
  {
    Error_Handler();
  }

}

static void MX_GPIO_Init(void)
{
  GPIO_InitTypeDef GPIO_InitStruct = {0};

  /* GPIO Ports Clock Enable */
  __HAL_RCC_GPIOH_CLK_ENABLE();
  __HAL_RCC_GPIOA_CLK_ENABLE();
  __HAL_RCC_GPIOB_CLK_ENABLE();
  __HAL_RCC_GPIOE_CLK_ENABLE();
  __HAL_RCC_GPIOD_CLK_ENABLE();

  /*Configure GPIO pin Output Level */
  HAL_GPIO_WritePin(GPIOD, DC_Pin|RESET__Pin|SDIN_Pin|SCLK_Pin, GPIO_PIN_RESET);

  /*Configure GPIO pin Output Level */
  HAL_GPIO_WritePin(GPIOA, Buzzer_Pin|LED3_Pin, GPIO_PIN_RESET);

  /*Configure GPIO pin : IMU_INT_Pin */
  GPIO_InitStruct.Pin = IMU_INT_Pin;
  GPIO_InitStruct.Mode = GPIO_MODE_IT_RISING;
  GPIO_InitStruct.Pull = GPIO_NOPULL;
  HAL_GPIO_Init(IMU_INT_GPIO_Port, &GPIO_InitStruct);

  /*Configure GPIO pins : DC_Pin RESET__Pin SDIN_Pin SCLK_Pin */
  GPIO_InitStruct.Pin = DC_Pin|RESET__Pin|SDIN_Pin|SCLK_Pin;
  GPIO_InitStruct.Mode = GPIO_MODE_OUTPUT_PP;
  GPIO_InitStruct.Pull = GPIO_NOPULL;
  GPIO_InitStruct.Speed = GPIO_SPEED_FREQ_LOW;
  HAL_GPIO_Init(GPIOD, &GPIO_InitStruct);

  /*Configure GPIO pins : Buzzer_Pin LED3_Pin */
  GPIO_InitStruct.Pin = Buzzer_Pin|LED3_Pin;
  GPIO_InitStruct.Mode = GPIO_MODE_OUTPUT_PP;
  GPIO_InitStruct.Pull = GPIO_NOPULL;
  GPIO_InitStruct.Speed = GPIO_SPEED_FREQ_LOW;
  HAL_GPIO_Init(GPIOA, &GPIO_InitStruct);

  /*Configure GPIO pin : USER_PB_Pin */
  GPIO_InitStruct.Pin = USER_PB_Pin;
  GPIO_InitStruct.Mode = GPIO_MODE_IT_RISING;
  GPIO_InitStruct.Pull = GPIO_NOPULL;
  HAL_GPIO_Init(USER_PB_GPIO_Port, &GPIO_InitStruct);

  /* EXTI interrupt init*/
  HAL_NVIC_SetPriority(EXTI0_IRQn, 0, 0);
  HAL_NVIC_EnableIRQ(EXTI0_IRQn);

}

/* USER CODE BEGIN 4 */
/*
void OLED_show(void *argument, int y, int x) // display message on OLED panel
{
	//uint8_t hello[20]="Hello World";
	OLED_Init();
	OLED_Display_On();
//	OLED_ShowString(10,10,argument);
	OLED_ShowString(y, x, argument);
	OLED_Refresh_Gram();
}
*/

/* USER CODE END 4 */

void Error_Handler(void)
{
  __disable_irq();
  while (1)
  {
  }
}
